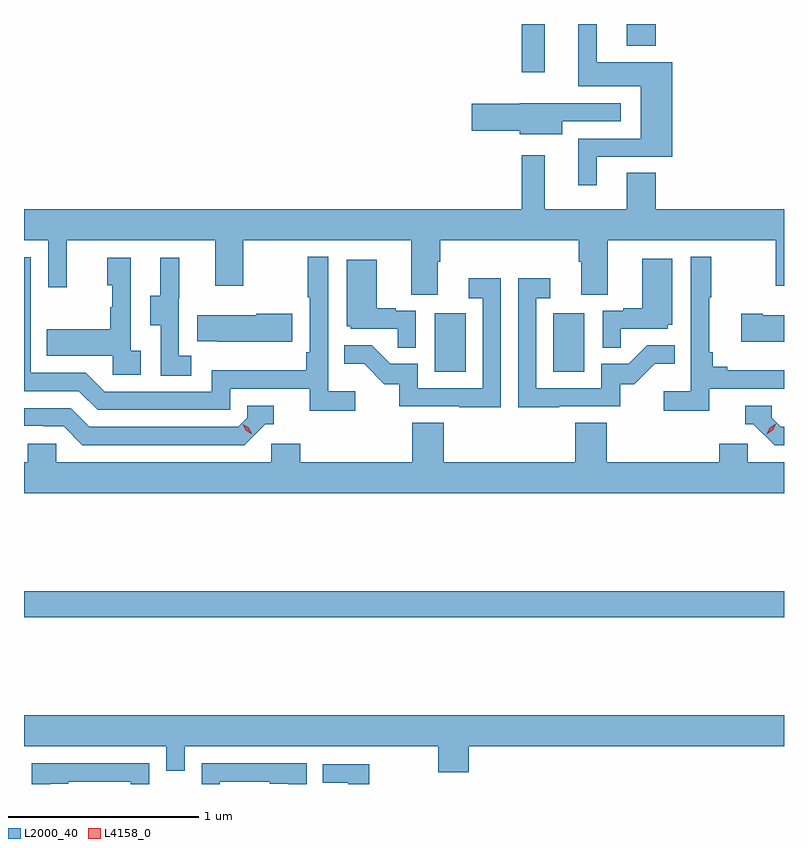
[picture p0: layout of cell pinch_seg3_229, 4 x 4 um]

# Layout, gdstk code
import gdstk
lib = gdstk.Library(unit=1e-6, precision=1e-09)
def R(c, l, rs):  # rectangles x0, y0, x1, y1
    for r in rs: c.add(gdstk.rectangle(r[:2], r[2:], *l))
def P(c, l, *ps):  # polygons
    for p in ps: c.add(gdstk.Polygon(p, *l))
L2000_40 = (2000, 40)
L4158_0 = (4158, 0)

pinch_seg3_229 = lib.new_cell('pinch_seg3_229')
R(pinch_seg3_229, L2000_40, [(922.441,732.232,926.441,732.368), (924.602,733.524,924.766,733.831), (925.226,733.524,925.39,733.831), (925.062,735.099,925.183,735.354), (925.613,735.239,925.766,735.354)])
P(pinch_seg3_229, L2000_40, [(925.456,734.655),(925.852,734.655),(925.852,735.154),(925.456,735.154),(925.456,735.354),(925.358,735.354),(925.358,735.026),(925.688,735.026),(925.688,734.751),(925.358,734.751),(925.358,734.505),(925.456,734.505)],
  [(925.273,734.841),(925.582,734.841),(925.582,734.937),(925.269,734.937),(925.269,734.938),(925.05,734.938),(925.05,734.933),(924.798,734.933),(924.798,734.791),(925.05,734.791),(925.05,734.774),(925.273,734.774)],
  [(924.619,734.104),(924.632,734.104),(924.632,734.216),(925.361,734.216),(925.361,734.104),(925.373,734.104),(925.373,733.93),(925.513,733.93),(925.513,734.216),(926.398,734.216),(926.398,733.977),(926.441,733.977),(926.441,734.38),(925.766,734.38),(925.766,734.57),(925.613,734.57),(925.613,734.38),(925.183,734.38),(925.183,734.662),(925.062,734.662),(925.062,734.38),(922.441,734.38),(922.441,734.216),(922.569,734.216),(922.569,733.968),(922.667,733.968),(922.667,734.216),(923.447,734.216),(923.447,733.977),(923.595,733.977),(923.595,734.216),(924.479,734.216),(924.479,733.93),(924.619,733.93)],
  [(924.184,733.42),(924.042,733.42),(924.042,734.128),(923.934,734.128),(923.934,733.915),(923.946,733.915),(923.946,733.627),(923.926,733.627),(923.926,733.531),(923.43,733.531),(923.43,733.419),(922.866,733.419),(922.767,733.518),(922.476,733.518),(922.476,734.127),(922.441,734.127),(922.441,733.422),(922.73,733.422),(922.829,733.323),(923.526,733.323),(923.526,733.434),(923.945,733.434),(923.945,733.318),(924.184,733.318)],
  [(926.048,733.434),(926.441,733.434),(926.441,733.531),(926.143,733.531),(926.143,733.55),(926.066,733.55),(926.066,733.627),(926.047,733.627),(926.047,733.915),(926.059,733.915),(926.059,734.128),(925.95,734.128),(925.95,733.42),(925.809,733.42),(925.809,733.318),(926.048,733.318)],
  [(923.056,733.634),(923.004,733.634),(923.004,734.125),(922.88,734.125),(922.88,733.98),(922.906,733.98),(922.906,733.862),(922.896,733.862),(922.896,733.747),(922.561,733.747),(922.561,733.607),(922.908,733.607),(922.908,733.509),(923.056,733.509)],
  [(923.32,733.607),(923.256,733.607),(923.256,733.911),(923.258,733.911),(923.258,734.125),(923.159,734.125),(923.159,733.923),(923.105,733.923),(923.105,733.768),(923.16,733.768),(923.16,733.504),(923.32,733.504)],
  [(925.583,733.749),(925.83,733.749),(925.83,733.77),(925.852,733.77),(925.852,734.119),(925.694,734.119),(925.694,733.858),(925.595,733.858),(925.595,733.845),(925.488,733.845),(925.488,733.651),(925.583,733.651)],
  [(924.504,733.845),(924.398,733.845),(924.398,733.858),(924.298,733.858),(924.298,734.113),(924.14,734.113),(924.14,733.764),(924.162,733.764),(924.162,733.749),(924.409,733.749),(924.409,733.651),(924.504,733.651)],
  [(925.259,733.341),(925.578,733.341),(925.578,733.458),(925.654,733.458),(925.761,733.565),(925.865,733.565),(925.865,733.664),(925.721,733.664),(925.623,733.566),(925.479,733.566),(925.479,733.437),(925.137,733.437),(925.137,733.911),(925.21,733.911),(925.21,734.017),(925.041,734.017),(925.041,733.336),(925.259,733.336)],
  [(924.951,734.017),(924.783,734.017),(924.783,733.911),(924.855,733.911),(924.855,733.437),(924.513,733.437),(924.513,733.566),(924.369,733.566),(924.271,733.664),(924.127,733.664),(924.127,733.565),(924.231,733.565),(924.338,733.458),(924.415,733.458),(924.415,733.341),(924.733,733.341),(924.733,733.336),(924.951,733.336)],
  [(926.441,733.822),(926.329,733.822),(926.329,733.83),(926.217,733.83),(926.217,733.682),(926.441,733.682)],
  [(923.854,733.83),(923.663,733.83),(923.663,733.822),(923.353,733.822),(923.353,733.685),(923.461,733.685),(923.461,733.682),(923.854,733.682)],
  [(926.441,733.233),(926.424,733.233),(926.376,733.281),(926.376,733.344),(926.237,733.344),(926.237,733.248),(926.28,733.248),(926.391,733.137),(926.441,733.137)],
  [(923.712,733.248),(923.755,733.248),(923.755,733.344),(923.616,733.344),(923.616,733.281),(923.568,733.233),(922.785,733.233),(922.686,733.332),(922.441,733.332),(922.441,733.239),(922.542,733.239),(922.542,733.236),(922.649,733.236),(922.748,733.137),(923.601,733.137)],
  [(926.441,733.048),(926.25,733.048),(926.25,733.146),(926.099,733.146),(926.099,733.048),(925.508,733.048),(925.508,733.256),(925.343,733.256),(925.343,733.048),(924.65,733.048),(924.65,733.256),(924.485,733.256),(924.485,733.048),(923.894,733.048),(923.894,733.146),(923.742,733.146),(923.742,733.048),(922.611,733.048),(922.611,733.146),(922.461,733.146),(922.461,733.048),(922.441,733.048),(922.441,732.884),(926.441,732.884)],
  [(924.782,731.552),(926.441,731.552),(926.441,731.716),(922.441,731.716),(922.441,731.552),(923.19,731.552),(923.19,731.425),(923.286,731.425),(923.286,731.552),(924.622,731.552),(924.622,731.417),(924.782,731.417)],
  [(923.472,731.367),(923.735,731.367),(923.735,731.355),(923.831,731.355),(923.831,731.354),(923.928,731.354),(923.928,731.463),(923.376,731.463),(923.376,731.354),(923.472,731.354)],
  [(922.58,731.355),(922.675,731.355),(922.675,731.367),(923.004,731.367),(923.004,731.354),(923.1,731.354),(923.1,731.463),(922.482,731.463),(922.482,731.354),(922.58,731.354)],
  [(924.259,731.457),(924.013,731.457),(924.013,731.36),(924.148,731.36),(924.148,731.354),(924.259,731.354)])
P(pinch_seg3_229, L4158_0, [(926.351,733.196),(926.351,733.196),(926.367,733.229),(926.398,733.249),(926.398,733.249),(926.398,733.249),(926.382,733.216),(926.351,733.196)],
  [(923.639,733.195),(923.609,733.215),(923.592,733.247),(923.592,733.248),(923.593,733.248),(923.623,733.228),(923.64,733.196),(923.64,733.195)])

lib.write_gds('pinch_seg3_229.gds')
